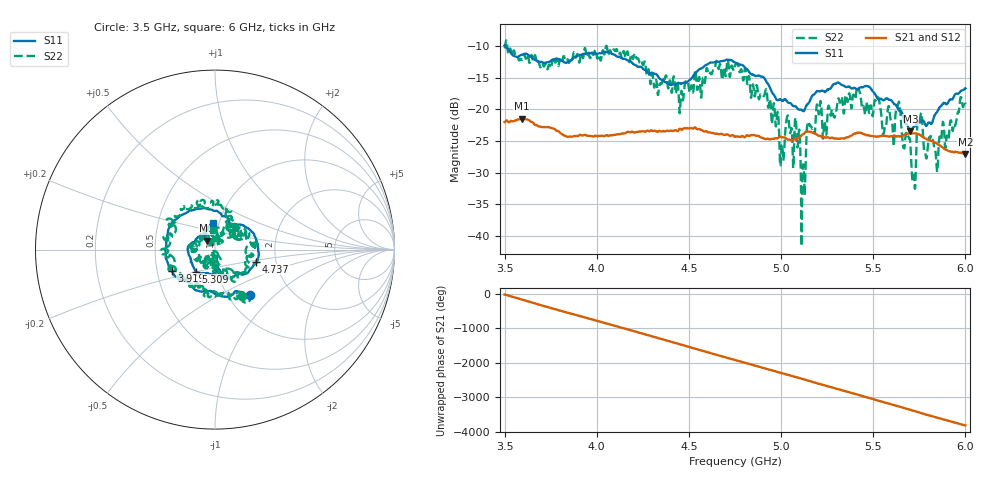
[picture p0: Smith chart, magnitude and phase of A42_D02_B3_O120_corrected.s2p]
! Created with skrf 1.9.0 (http://scikit-rf.org).
# Hz S RI R 50.0
!freq ReS11 ImS11 ReS21 ImS21 ReS12 ImS12 ReS22 ImS22
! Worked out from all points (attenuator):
!   1601 points, 3.5 GHz to 6 GHz, reference 50 ohm
!   highest |S21| = -21.49 dB at 3.594 GHz (marker M1); lowest = -27.0 dB at 6 GHz (marker M2)
!   lowest |S11| = -23.5 dB at 5.702 GHz (marker M3), VSWR 1.14, Z = 45.5 + j4.48 ohm
!   |S11| at or under -10 dB: 3.501 GHz to end of sweep
!   |S22| runs from -41.6 to -9.2 dB; largest |S21 - S12| = 0.00093
!   S11 on the Smith chart (normalised r, x): 3.5 GHz: 1.27, -0.71; 3.919 GHz: 0.60, -0.15; 4.737 GHz: 1.58, -0.22; 5.309 GHz: 0.79, -0.20; 6 GHz: 0.94, +0.28
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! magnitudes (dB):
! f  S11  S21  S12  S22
! 3.5 GHz  -10.0  -22.0  -22.0  -10.4
! 3.594 GHz  -11.4  -21.5  -21.5  -12.2
! 3.917 GHz  -11.4  -24.1  -24.1  -11.2
! 3.919 GHz  -11.4  -24.1  -24.1  -11.3
! 4.334 GHz  -14.9  -23.5  -23.4  -17.4
! 4.737 GHz  -12.4  -24.1  -24.1  -13.5
! 4.75 GHz  -12.7  -24.3  -24.3  -13.1
! 4.928 GHz  -16.0  -24.6  -24.6  -19.4
! 5.005 GHz  -18.5  -24.4  -24.4  -25.6
! 5.033 GHz  -18.8  -24.7  -24.6  -21.2
! 5.088 GHz  -19.8  -24.7  -24.7  -25.9
! 5.119 GHz  -20.3  -24.0  -23.9  -28.8
! 5.147 GHz  -19.1  -23.5  -23.5  -22.5
! 5.167 GHz  -18.0  -23.6  -23.6  -23.0
! 5.309 GHz  -15.8  -24.6  -24.6  -18.4
! 5.584 GHz  -18.5  -24.3  -24.3  -19.5
! 5.636 GHz  -20.0  -24.2  -24.2  -19.1
! 5.702 GHz  -23.5  -23.8  -23.8  -25.6
! 5.719 GHz  -22.8  -23.8  -23.8  -30.5
! 5.752 GHz  -22.1  -24.0  -24.0  -21.6
! 5.842 GHz  -20.6  -25.4  -25.3  -28.1
! 6 GHz  -16.7  -27.0  -27.0  -19.2
